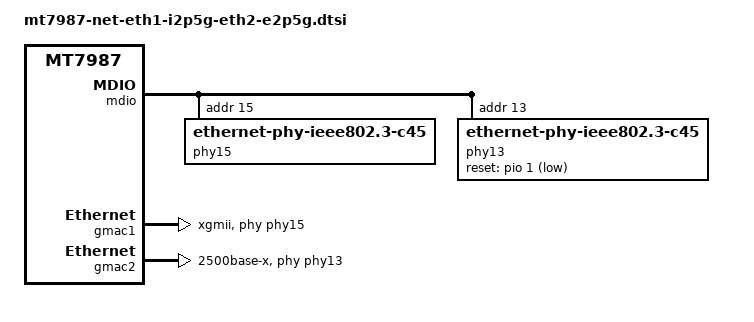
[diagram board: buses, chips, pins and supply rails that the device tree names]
// SPDX-License-Identifier: (GPL-2.0 OR MIT)

&mdio {
	phy15: phy@15 {
		pinctrl-names = "i2p5gbe-led";
		pinctrl-0 = <&i2p5gbe_led0_pins>;
		compatible = "ethernet-phy-ieee802.3-c45";
		reg = <15>;
		phy-mode = "xgmii";
	};

	phy13: phy@13 {
		compatible = "ethernet-phy-ieee802.3-c45";
		reg = <13>;
		reset-gpios = <&pio 1 1>;
		reset-assert-us = <600>;
		reset-deassert-us = <20000>;
	};
};

&gmac1 {
	compatible = "mediatek,eth-mac";
	reg = <1>;
	mac-type = "xgdm";
	phy-mode = "xgmii";
	phy-handle = <&phy15>;
};

&gmac2 {
	compatible = "mediatek,eth-mac";
	reg = <2>;
        mac-type = "gdm";
        phy-mode = "2500base-x";
	phy-handle = <&phy13>;
};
